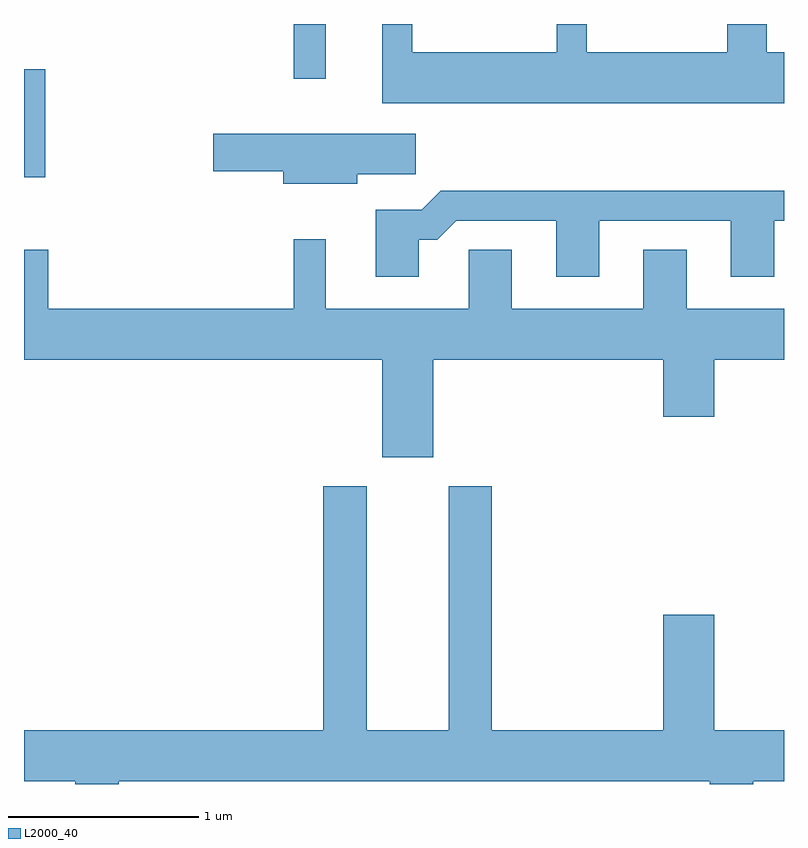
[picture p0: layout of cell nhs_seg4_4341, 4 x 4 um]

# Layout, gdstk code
import gdstk
lib = gdstk.Library(unit=1e-6, precision=1e-09)
def R(c, l, rs):  # rectangles x0, y0, x1, y1
    for r in rs: c.add(gdstk.rectangle(r[:2], r[2:], *l))
def P(c, l, *ps):  # polygons
    for p in ps: c.add(gdstk.Polygon(p, *l))
L2000_40 = (2000, 40)

nhs_seg4_4341 = lib.new_cell('nhs_seg4_4341')
R(nhs_seg4_4341, L2000_40, [(311.611,1371.176,311.724,1371.744), (313.031,1371.693,313.199,1371.982)])
P(nhs_seg4_4341, L2000_40, [(315.611,1371.834),(315.519,1371.834),(315.519,1371.982),(315.311,1371.982),(315.311,1371.834),(314.574,1371.834),(314.574,1371.982),(314.416,1371.982),(314.416,1371.834),(313.654,1371.834),(313.654,1371.982),(313.496,1371.982),(313.496,1371.566),(315.611,1371.566)],
  [(313.364,1371.191),(313.674,1371.191),(313.674,1371.404),(312.606,1371.404),(312.606,1371.206),(312.976,1371.206),(312.976,1371.141),(313.364,1371.141)],
  [(313.689,1370.846),(313.787,1370.846),(313.887,1370.946),(314.411,1370.946),(314.411,1370.651),(314.639,1370.651),(314.639,1370.946),(315.331,1370.946),(315.331,1370.651),(315.559,1370.651),(315.559,1370.946),(315.611,1370.946),(315.611,1371.104),(313.804,1371.104),(313.704,1371.004),(313.461,1371.004),(313.461,1370.651),(313.689,1370.651)],
  [(313.764,1370.216),(314.976,1370.216),(314.976,1369.916),(315.244,1369.916),(315.244,1370.216),(315.611,1370.216),(315.611,1370.484),(315.099,1370.484),(315.099,1370.794),(314.871,1370.794),(314.871,1370.484),(314.179,1370.484),(314.179,1370.794),(313.951,1370.794),(313.951,1370.484),(313.199,1370.484),(313.199,1370.848),(313.031,1370.848),(313.031,1370.484),(311.739,1370.484),(311.739,1370.794),(311.611,1370.794),(311.611,1370.216),(313.496,1370.216),(313.496,1369.701),(313.764,1369.701)],
  [(312.109,1367.996),(315.221,1367.996),(315.221,1367.982),(315.449,1367.982),(315.449,1367.996),(315.611,1367.996),(315.611,1368.264),(315.244,1368.264),(315.244,1368.874),(314.976,1368.874),(314.976,1368.264),(314.074,1368.264),(314.074,1369.549),(313.846,1369.549),(313.846,1368.264),(313.414,1368.264),(313.414,1369.549),(313.186,1369.549),(313.186,1368.264),(311.611,1368.264),(311.611,1367.996),(311.881,1367.996),(311.881,1367.982),(312.109,1367.982)])

lib.write_gds('nhs_seg4_4341.gds')
